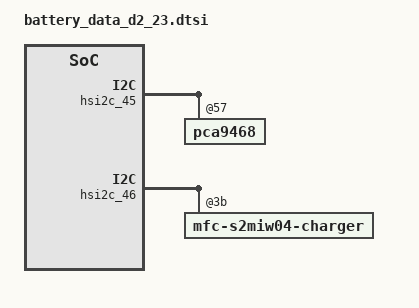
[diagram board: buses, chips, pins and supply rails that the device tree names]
/*
 * SAMSUNG UNIVERSAL9820 board device tree source
 *
 * Copyright (c) 2018 Samsung Electronics Co., Ltd.
 *		http://www.samsung.com
 *
 * This program is free software; you can redistribute it and/or modify
 * it under the terms of the GNU General Public License version 2 as
 * published by the Free Software Foundation.
 */

#include "battery_data_d2_common.dtsi"
#include "battery_rx_data_lsi.dtsi"

/ {
};

&pinctrl_0 {
	 vrect_int: vrect-int {
		 samsung,pins = "gpa3-2";
		 samsung,pin-function = <0xf>;
		 samsung,pin-pud = <0>;
		 samsung,pin-drv = <0>;
	 };

	chg_gpio_en: chg-gpio-en {
		samsung,pins = "gpa4-1";
		samsung,pin-function = <1>;
		samsung,pin-pud = <0>;
		samsung,pin-drv = <0>;
	};

	pdet_b: pdet-b {
		 samsung,pins = "gpa2-1";
		 samsung,pin-function = <0xf>;
		 samsung,pin-pud = <0>;
		 samsung,pin-drv = <0>;
	 };
};

&pinctrl_5 {
	 wpc_en: wpc-en {
		 samsung,pins = "gpp1-7";
		 samsung,pin-function = <1>;
		 samsung,pin-pud = <0>;
		 samsung,pin-drv = <0>;
	 };

	 ping_nen: ping-nen {
		 samsung,pins = "gpp2-2";
		 samsung,pin-function = <1>;
		 samsung,pin-pud = <0>;
		 samsung,pin-drv = <0>;
	 };
};

&hsi2c_45 {
	pca9468@57 {
		pinctrl-0     = <&dc_irq &chg_gpio_en>;
	};
};

&hsi2c_46 {
	mfc-s2miw04-charger@3b {
		pinctrl-0 = <&wpc_int &wpc_det &pdet_b &wpc_en &ping_nen &vrect_int>;

		battery,vrect_int = <&gpa3 2 0>;
	};
};
